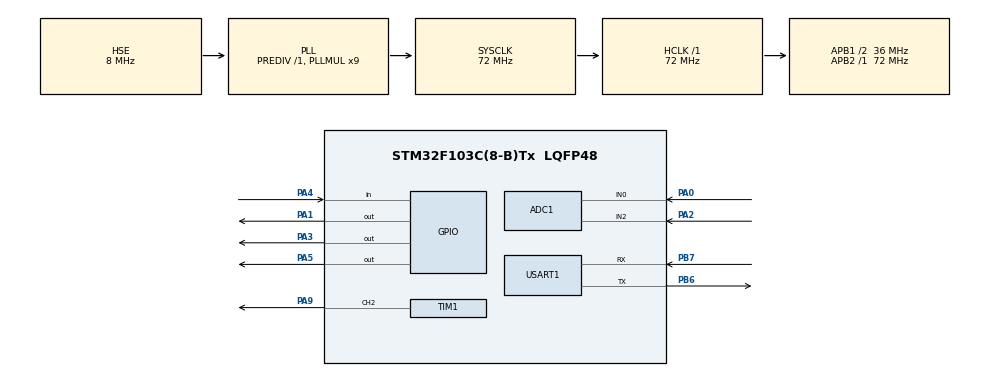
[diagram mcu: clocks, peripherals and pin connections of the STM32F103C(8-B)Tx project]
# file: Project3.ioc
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ADC1.Channel-0\#ChannelRegularConversion=ADC_CHANNEL_0
ADC1.Channel-1\#ChannelRegularConversion=ADC_CHANNEL_2
ADC1.ContinuousConvMode=DISABLE
ADC1.NbrOfConversion=2
ADC1.NbrOfConversionFlag=1
ADC1.Rank-0\#ChannelRegularConversion=1
ADC1.Rank-1\#ChannelRegularConversion=2
ADC1.SamplingTime-0\#ChannelRegularConversion=ADC_SAMPLETIME_239CYCLES_5
ADC1.SamplingTime-1\#ChannelRegularConversion=ADC_SAMPLETIME_239CYCLES_5
ADC1.master=1
Dma.ADC1.0.Direction=DMA_PERIPH_TO_MEMORY
Dma.ADC1.0.Instance=DMA1_Channel1
Dma.ADC1.0.MemDataAlignment=DMA_MDATAALIGN_HALFWORD
Dma.ADC1.0.MemInc=DMA_MINC_ENABLE
Dma.ADC1.0.Mode=DMA_CIRCULAR
Dma.ADC1.0.PeriphDataAlignment=DMA_PDATAALIGN_HALFWORD
Dma.ADC1.0.PeriphInc=DMA_PINC_DISABLE
Dma.ADC1.0.Priority=DMA_PRIORITY_LOW
Dma.Request0=ADC1
Dma.Request1=USART1_RX
Dma.Request2=USART1_TX
Dma.USART1_RX.1.Direction=DMA_PERIPH_TO_MEMORY
Dma.USART1_RX.1.Instance=DMA1_Channel5
Dma.USART1_RX.1.MemDataAlignment=DMA_MDATAALIGN_BYTE
Dma.USART1_RX.1.MemInc=DMA_MINC_ENABLE
Dma.USART1_RX.1.Mode=DMA_NORMAL
Dma.USART1_RX.1.PeriphDataAlignment=DMA_PDATAALIGN_BYTE
Dma.USART1_RX.1.PeriphInc=DMA_PINC_DISABLE
Dma.USART1_RX.1.Priority=DMA_PRIORITY_LOW
Dma.USART1_TX.2.Direction=DMA_MEMORY_TO_PERIPH
Dma.USART1_TX.2.Instance=DMA1_Channel4
Dma.USART1_TX.2.MemDataAlignment=DMA_MDATAALIGN_BYTE
Dma.USART1_TX.2.MemInc=DMA_MINC_ENABLE
Dma.USART1_TX.2.Mode=DMA_CIRCULAR
Dma.USART1_TX.2.PeriphDataAlignment=DMA_PDATAALIGN_BYTE
Dma.USART1_TX.2.PeriphInc=DMA_PINC_DISABLE
Dma.USART1_TX.2.Priority=DMA_PRIORITY_LOW
Mcu.Family=STM32F1
Mcu.Name=STM32F103C(8-B)Tx
Mcu.Package=LQFP48
NVIC.ADC1_2_IRQn=true\:1\:0\:true\:false\:true\:true\:true\:true
NVIC.DMA1_Channel1_IRQn=true\:1\:0\:true\:false\:true\:false\:true\:true
NVIC.DMA1_Channel4_IRQn=true\:0\:0\:false\:false\:true\:false\:true\:true
NVIC.DMA1_Channel5_IRQn=true\:0\:0\:false\:false\:true\:false\:true\:true
NVIC.PriorityGroup=NVIC_PRIORITYGROUP_4
PA0-WKUP.Signal=ADCx_IN0
PA1.GPIO_PuPd=GPIO_NOPULL
PA1.PinState=GPIO_PIN_SET
PA1.Signal=GPIO_Output
PA13.Mode=Serial_Wire
PA13.Signal=SYS_JTMS-SWDIO
PA14.Mode=Serial_Wire
PA14.Signal=SYS_JTCK-SWCLK
PA2.Signal=ADCx_IN2
PA3.GPIO_ModeDefaultOutputPP=GPIO_MODE_OUTPUT_PP
PA3.PinState=GPIO_PIN_SET
PA3.Signal=GPIO_Output
PA4.GPIO_PuPd=GPIO_PULLUP
PA4.Signal=GPIO_Input
PA5.GPIO_ModeDefaultOutputPP=GPIO_MODE_OUTPUT_PP
PA5.GPIO_PuPd=GPIO_NOPULL
PA5.PinState=GPIO_PIN_RESET
PA5.Signal=GPIO_Output
PA9.Signal=S_TIM1_CH2
PB6.Mode=Asynchronous
PB6.Signal=USART1_TX
PB7.Mode=Asynchronous
PB7.Signal=USART1_RX
PD0-OSC_IN.Mode=HSE-External-Oscillator
PD0-OSC_IN.Signal=RCC_OSC_IN
PD1-OSC_OUT.Mode=HSE-External-Oscillator
PD1-OSC_OUT.Signal=RCC_OSC_OUT
ProjectManager.HeapSize=0x200
ProjectManager.StackSize=0x400
ProjectManager.TargetToolchain=MDK-ARM V5.32
RCC.ADCPresc=RCC_ADCPCLK2_DIV6
RCC.AHBFreq_Value=72000000
RCC.APB1CLKDivider=RCC_HCLK_DIV2
RCC.APB1Freq_Value=36000000
RCC.APB1TimFreq_Value=72000000
RCC.APB2Freq_Value=72000000
RCC.APB2TimFreq_Value=72000000
RCC.HCLKFreq_Value=72000000
RCC.PLLMUL=RCC_PLL_MUL9
RCC.PLLSourceVirtual=RCC_PLLSOURCE_HSE
RCC.SYSCLKFreq_VALUE=72000000
RCC.SYSCLKSource=RCC_SYSCLKSOURCE_PLLCLK
RCC.USBFreq_Value=72000000
SH.ADCx_IN0.0=ADC1_IN0,IN0
SH.ADCx_IN2.0=ADC1_IN2,IN2
SH.S_TIM1_CH2.0=TIM1_CH2,PWM Generation2 CH2
TIM1.AutoReloadPreload=TIM_AUTORELOAD_PRELOAD_ENABLE
TIM1.Channel-PWM\ Generation2\ CH2=TIM_CHANNEL_2
TIM1.Period=1000-1
TIM1.Prescaler=1440-1
USART1.VirtualMode=VM_ASYNC
VP_TIM1_VS_ClockSourceINT.Mode=Internal
board=custom

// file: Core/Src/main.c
/* USER CODE BEGIN Header */
/**
  ******************************************************************************
  * @file           : main.c
  * @brief          : Main program body
  ******************************************************************************
  * @attention
  *
  * Copyright (c) 2022 STMicroelectronics.
  * All rights reserved.
  *
  * This software is licensed under terms that can be found in the LICENSE file
  * in the root directory of this software component.
  * If no LICENSE file comes with this software, it is provided AS-IS.
  *
  ******************************************************************************
  */
/* USER CODE END Header */
#include "main.h"

ADC_HandleTypeDef hadc1;
DMA_HandleTypeDef hdma_adc1;

TIM_HandleTypeDef htim1;

UART_HandleTypeDef huart1;
DMA_HandleTypeDef hdma_usart1_rx;
DMA_HandleTypeDef hdma_usart1_tx;

void SystemClock_Config(void);
static void MX_GPIO_Init(void);
static void MX_DMA_Init(void);
static void MX_ADC1_Init(void);
static void MX_TIM1_Init(void);
static void MX_USART1_UART_Init(void);

/* USER CODE BEGIN 0 */
uint16_t adc[2];
//DHT_DataTypedef DHT11;
uint8_t i;
uint8_t flag = 0;
uint8_t led_flag, thief_flag, pump_flag;
uint8_t arr_flag[3];
void HAL_ADC_ConvCpltCallback(ADC_HandleTypeDef* hadc)
{
	if(adc[0] < 1000)  // Cam bien hong ngoai
	{
		HAL_GPIO_WritePin(GPIOA, GPIO_PIN_1, GPIO_PIN_RESET);
		thief_flag = 1;
	}
	else
	{
		HAL_GPIO_WritePin(GPIOA, GPIO_PIN_1, GPIO_PIN_SET);
		thief_flag = 0;
	}

	if(adc[1] > 2800)  // Quang tro
	{
		HAL_GPIO_WritePin(GPIOA, GPIO_PIN_3, GPIO_PIN_RESET);
		led_flag = 1;
	}
	else if(adc[1] < 2700)
	{
		HAL_GPIO_WritePin(GPIOA, GPIO_PIN_3, GPIO_PIN_SET);
		led_flag = 0;
	}
	HAL_ADC_Stop_DMA(&hadc1);
}

uint8_t Delay100ms_QuetNutNhan()
{
	for(int i = 0; i < 5; i++)
	{
		HAL_Delay(20);
		if(HAL_GPIO_ReadPin(GPIOA, GPIO_PIN_4) == 0)
		{
			HAL_Delay(20);
			if(flag == 0 && HAL_GPIO_ReadPin(GPIOA, GPIO_PIN_4) == 0)
			{
				flag = 1;
				//pump_flag = 1;
				return 1;
			}
		}
	}
	flag = 0;
	//pump_flag = 0;
	return 0;
}
/* USER CODE END 0 */

int main(void)
{

  /* MCU Configuration--------------------------------------------------------*/

  /* Reset of all peripherals, Initializes the Flash interface and the Systick. */
  HAL_Init();

  /* Configure the system clock */
  SystemClock_Config();

  /* Initialize all configured peripherals */
  MX_GPIO_Init();
  MX_DMA_Init();
  MX_ADC1_Init();
  MX_TIM1_Init();
  MX_USART1_UART_Init();
  /* USER CODE BEGIN 2 */
	//HAL_TIM_PWM_Start(&htim1, TIM_CHANNEL_2);
	HAL_UART_Transmit_DMA(&huart1, arr_flag, 3);
  /* USER CODE END 2 */

  /* Infinite loop */
  while (1)
  {

    /* USER CODE BEGIN 3 */
		HAL_ADC_Start_DMA(&hadc1, (uint32_t*)adc, 2);
		if(Delay100ms_QuetNutNhan() == 1)
		{
			HAL_GPIO_TogglePin(GPIOA, GPIO_PIN_5);
			pump_flag = !pump_flag;
		};
		arr_flag[0] = thief_flag + 48;
		arr_flag[1] = led_flag + 48;
		arr_flag[2] = pump_flag + 48;

  }
  /* USER CODE END 3 */
}

void SystemClock_Config(void)
{
  RCC_OscInitTypeDef RCC_OscInitStruct = {0};
  RCC_ClkInitTypeDef RCC_ClkInitStruct = {0};
  RCC_PeriphCLKInitTypeDef PeriphClkInit = {0};

  /** Initializes the RCC Oscillators according to the specified parameters
  * in the RCC_OscInitTypeDef structure.
  */
  RCC_OscInitStruct.OscillatorType = RCC_OSCILLATORTYPE_HSE;
  RCC_OscInitStruct.HSEState = RCC_HSE_ON;
  RCC_OscInitStruct.HSEPredivValue = RCC_HSE_PREDIV_DIV1;
  RCC_OscInitStruct.HSIState = RCC_HSI_ON;
  RCC_OscInitStruct.PLL.PLLState = RCC_PLL_ON;
  RCC_OscInitStruct.PLL.PLLSource = RCC_PLLSOURCE_HSE;
  RCC_OscInitStruct.PLL.PLLMUL = RCC_PLL_MUL9;
  if (HAL_RCC_OscConfig(&RCC_OscInitStruct) != HAL_OK)
  {
    Error_Handler();
  }

  /** Initializes the CPU, AHB and APB buses clocks
  */
  RCC_ClkInitStruct.ClockType = RCC_CLOCKTYPE_HCLK|RCC_CLOCKTYPE_SYSCLK
                              |RCC_CLOCKTYPE_PCLK1|RCC_CLOCKTYPE_PCLK2;
  RCC_ClkInitStruct.SYSCLKSource = RCC_SYSCLKSOURCE_PLLCLK;
  RCC_ClkInitStruct.AHBCLKDivider = RCC_SYSCLK_DIV1;
  RCC_ClkInitStruct.APB1CLKDivider = RCC_HCLK_DIV2;
  RCC_ClkInitStruct.APB2CLKDivider = RCC_HCLK_DIV1;

  if (HAL_RCC_ClockConfig(&RCC_ClkInitStruct, FLASH_LATENCY_2) != HAL_OK)
  {
    Error_Handler();
  }
  PeriphClkInit.PeriphClockSelection = RCC_PERIPHCLK_ADC;
  PeriphClkInit.AdcClockSelection = RCC_ADCPCLK2_DIV6;
  if (HAL_RCCEx_PeriphCLKConfig(&PeriphClkInit) != HAL_OK)
  {
    Error_Handler();
  }
}

static void MX_ADC1_Init(void)
{

  ADC_ChannelConfTypeDef sConfig = {0};

  /** Common config
  */
  hadc1.Instance = ADC1;
  hadc1.Init.ScanConvMode = ADC_SCAN_ENABLE;
  hadc1.Init.ContinuousConvMode = DISABLE;
  hadc1.Init.DiscontinuousConvMode = DISABLE;
  hadc1.Init.ExternalTrigConv = ADC_SOFTWARE_START;
  hadc1.Init.DataAlign = ADC_DATAALIGN_RIGHT;
  hadc1.Init.NbrOfConversion = 2;
  if (HAL_ADC_Init(&hadc1) != HAL_OK)
  {
    Error_Handler();
  }

  /** Configure Regular Channel
  */
  sConfig.Channel = ADC_CHANNEL_0;
  sConfig.Rank = ADC_REGULAR_RANK_1;
  sConfig.SamplingTime = ADC_SAMPLETIME_239CYCLES_5;
  if (HAL_ADC_ConfigChannel(&hadc1, &sConfig) != HAL_OK)
  {
    Error_Handler();
  }

  /** Configure Regular Channel
  */
  sConfig.Channel = ADC_CHANNEL_2;
  sConfig.Rank = ADC_REGULAR_RANK_2;
  if (HAL_ADC_ConfigChannel(&hadc1, &sConfig) != HAL_OK)
  {
    Error_Handler();
  }

}

static void MX_TIM1_Init(void)
{

  TIM_ClockConfigTypeDef sClockSourceConfig = {0};
  TIM_MasterConfigTypeDef sMasterConfig = {0};
  TIM_OC_InitTypeDef sConfigOC = {0};
  TIM_BreakDeadTimeConfigTypeDef sBreakDeadTimeConfig = {0};

  htim1.Instance = TIM1;
  htim1.Init.Prescaler = 1440-1;
  htim1.Init.CounterMode = TIM_COUNTERMODE_UP;
  htim1.Init.Period = 1000-1;
  htim1.Init.ClockDivision = TIM_CLOCKDIVISION_DIV1;
  htim1.Init.RepetitionCounter = 0;
  htim1.Init.AutoReloadPreload = TIM_AUTORELOAD_PRELOAD_ENABLE;
  if (HAL_TIM_Base_Init(&htim1) != HAL_OK)
  {
    Error_Handler();
  }
  sClockSourceConfig.ClockSource = TIM_CLOCKSOURCE_INTERNAL;
  if (HAL_TIM_ConfigClockSource(&htim1, &sClockSourceConfig) != HAL_OK)
  {
    Error_Handler();
  }
  if (HAL_TIM_PWM_Init(&htim1) != HAL_OK)
  {
    Error_Handler();
  }
  sMasterConfig.MasterOutputTrigger = TIM_TRGO_RESET;
  sMasterConfig.MasterSlaveMode = TIM_MASTERSLAVEMODE_DISABLE;
  if (HAL_TIMEx_MasterConfigSynchronization(&htim1, &sMasterConfig) != HAL_OK)
  {
    Error_Handler();
  }
  sConfigOC.OCMode = TIM_OCMODE_PWM1;
  sConfigOC.Pulse = 0;
  sConfigOC.OCPolarity = TIM_OCPOLARITY_HIGH;
  sConfigOC.OCNPolarity = TIM_OCNPOLARITY_HIGH;
  sConfigOC.OCFastMode = TIM_OCFAST_DISABLE;
  sConfigOC.OCIdleState = TIM_OCIDLESTATE_RESET;
  sConfigOC.OCNIdleState = TIM_OCNIDLESTATE_RESET;
  if (HAL_TIM_PWM_ConfigChannel(&htim1, &sConfigOC, TIM_CHANNEL_2) != HAL_OK)
  {
    Error_Handler();
  }
  sBreakDeadTimeConfig.OffStateRunMode = TIM_OSSR_DISABLE;
  sBreakDeadTimeConfig.OffStateIDLEMode = TIM_OSSI_DISABLE;
  sBreakDeadTimeConfig.LockLevel = TIM_LOCKLEVEL_OFF;
  sBreakDeadTimeConfig.DeadTime = 0;
  sBreakDeadTimeConfig.BreakState = TIM_BREAK_DISABLE;
  sBreakDeadTimeConfig.BreakPolarity = TIM_BREAKPOLARITY_HIGH;
  sBreakDeadTimeConfig.AutomaticOutput = TIM_AUTOMATICOUTPUT_DISABLE;
  if (HAL_TIMEx_ConfigBreakDeadTime(&htim1, &sBreakDeadTimeConfig) != HAL_OK)
  {
    Error_Handler();
  }
  HAL_TIM_MspPostInit(&htim1);

}

static void MX_USART1_UART_Init(void)
{

  huart1.Instance = USART1;
  huart1.Init.BaudRate = 115200;
  huart1.Init.WordLength = UART_WORDLENGTH_8B;
  huart1.Init.StopBits = UART_STOPBITS_1;
  huart1.Init.Parity = UART_PARITY_NONE;
  huart1.Init.Mode = UART_MODE_TX_RX;
  huart1.Init.HwFlowCtl = UART_HWCONTROL_NONE;
  huart1.Init.OverSampling = UART_OVERSAMPLING_16;
  if (HAL_UART_Init(&huart1) != HAL_OK)
  {
    Error_Handler();
  }

}

static void MX_DMA_Init(void)
{

  /* DMA controller clock enable */
  __HAL_RCC_DMA1_CLK_ENABLE();

  /* DMA interrupt init */
  /* DMA1_Channel1_IRQn interrupt configuration */
  HAL_NVIC_SetPriority(DMA1_Channel1_IRQn, 1, 0);
  HAL_NVIC_EnableIRQ(DMA1_Channel1_IRQn);
  /* DMA1_Channel4_IRQn interrupt configuration */
  HAL_NVIC_SetPriority(DMA1_Channel4_IRQn, 0, 0);
  HAL_NVIC_EnableIRQ(DMA1_Channel4_IRQn);
  /* DMA1_Channel5_IRQn interrupt configuration */
  HAL_NVIC_SetPriority(DMA1_Channel5_IRQn, 0, 0);
  HAL_NVIC_EnableIRQ(DMA1_Channel5_IRQn);

}

static void MX_GPIO_Init(void)
{
  GPIO_InitTypeDef GPIO_InitStruct = {0};

  /* GPIO Ports Clock Enable */
  __HAL_RCC_GPIOD_CLK_ENABLE();
  __HAL_RCC_GPIOA_CLK_ENABLE();
  __HAL_RCC_GPIOB_CLK_ENABLE();

  /*Configure GPIO pin Output Level */
  HAL_GPIO_WritePin(GPIOA, GPIO_PIN_1|GPIO_PIN_3, GPIO_PIN_SET);

  /*Configure GPIO pin Output Level */
  HAL_GPIO_WritePin(GPIOA, GPIO_PIN_5, GPIO_PIN_RESET);

  /*Configure GPIO pins : PA1 PA3 PA5 */
  GPIO_InitStruct.Pin = GPIO_PIN_1|GPIO_PIN_3|GPIO_PIN_5;
  GPIO_InitStruct.Mode = GPIO_MODE_OUTPUT_PP;
  GPIO_InitStruct.Pull = GPIO_NOPULL;
  GPIO_InitStruct.Speed = GPIO_SPEED_FREQ_LOW;
  HAL_GPIO_Init(GPIOA, &GPIO_InitStruct);

  /*Configure GPIO pin : PA4 */
  GPIO_InitStruct.Pin = GPIO_PIN_4;
  GPIO_InitStruct.Mode = GPIO_MODE_INPUT;
  GPIO_InitStruct.Pull = GPIO_PULLUP;
  HAL_GPIO_Init(GPIOA, &GPIO_InitStruct);

}

void Error_Handler(void)
{
  __disable_irq();
  while (1)
  {
  }
}
